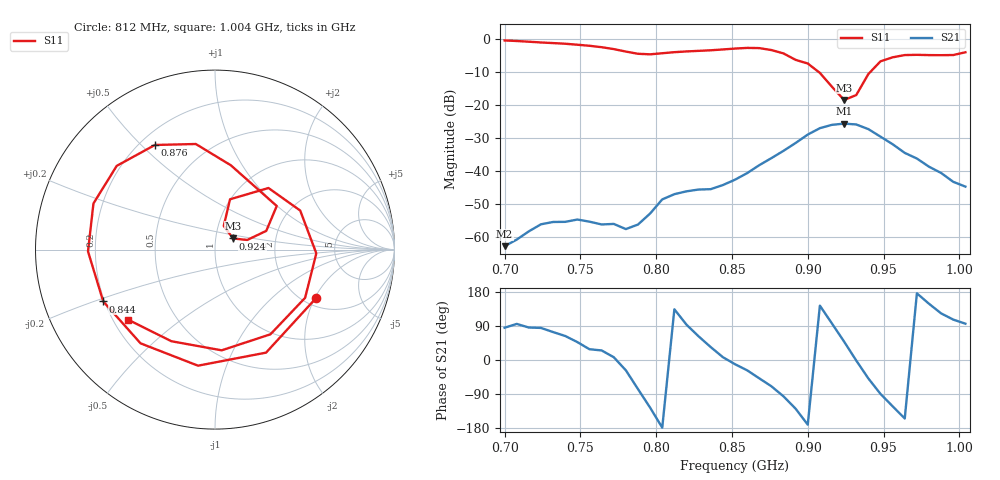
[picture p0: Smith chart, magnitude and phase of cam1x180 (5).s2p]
# Hz S RI R 50
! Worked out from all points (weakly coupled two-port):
!   39 points, 700 MHz to 1.004 GHz, reference 50 ohm
!   highest |S21| = -25.65 dB at 924 MHz (marker M1); lowest = -62.6 dB at 700 MHz (marker M2)
!   lowest |S11| = -18.5 dB at 924 MHz (marker M3), VSWR 1.27, Z = 60.7 + j7.64 ohm
!   |S11| at or under -10 dB: 907 MHz to 941.4 MHz (34.37 MHz wide, 3.72 % of centre)
!   S12 and S22 are empty: the file has one direction only
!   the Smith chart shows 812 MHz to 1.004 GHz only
!   S11 on the Smith chart (normalised r, x): 812 MHz: 2.31, -2.05; 844 MHz: 0.19, -0.21; 876 MHz: 0.26, +0.55; 924 MHz: 1.21, +0.15; 1.004 GHz: 0.26, -0.33
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7e8  0.7598 0.5503  6.24e-05 0.000736  0 0  0 0
7.24e8  0.8387 -0.247  0.000148 0.00157  0 0  0 0
7.4e8  0.456 -0.7021  0.000772 0.00154  0 0  0 0
7.56e8  -0.1914 -0.7556  0.00152 0.000822  0 0  0 0
7.72e8  -0.6649 -0.2024  0.00159 0.000206  0 0  0 0
7.8e8  -0.5978 0.2216  0.00119 -0.000612  0 0  0 0
7.88e8  -0.2545 0.5328  0.000358 -0.00152  0 0  0 0
7.96e8  0.2336 0.5304  -0.00134 -0.00187  0 0  0 0
8.04e8  0.5711 0.189  -0.00375 -9.66e-05  0 0  0 0
8.12e8  0.5627 -0.2707  -0.00311 0.00324  0 0  0 0
8.28e8  -0.0946 -0.6468  0.00245 0.00468  0 0  0 0
8.44e8  -0.6227 -0.2887  0.00612 0.000801  0 0  0 0
8.52e8  -0.7075 -0.0103  0.0073 -0.00143  0 0  0 0
8.76e8  -0.3347 0.5829  0.00554 -0.0147  0 0  0 0
9e8  0.344 0.2429  -0.0352 -0.00578  0 0  0 0
9.08e8  0.2857 0.1043  -0.0358 0.0265  0 0  0 0
9.24e8  0.1009 0.0621  0.0346 0.039  0 0  0 0
9.4e8  0.0838 0.2803  0.0284 -0.0324  0 0  0 0
9.56e8  0.4748 0.2175  -0.0136 -0.0216  0 0  0 0
9.64e8  0.5645 -0.0208  -0.017 -0.00817  0 0  0 0
9.8e8  0.309 -0.4718  -0.00995 0.00612  0 0  0 0
1.004e9  -0.485 -0.3899  -0.000591 0.00582  0 0  0 0
